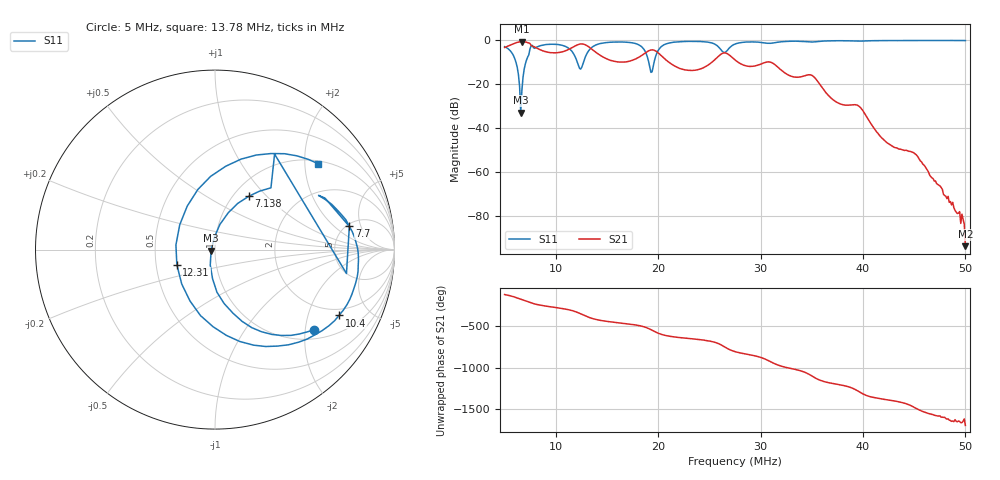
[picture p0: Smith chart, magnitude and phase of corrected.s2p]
! S11/S21 only; reverse parameters are placeholders. Device calibration unverified.
! [Saver CAL applied] C:\Users\aknya\MyProjects\rf-simulator\calibration2.cal | Ideal standards assumed | Input: NanoVNA F V2 profile | COM3 | 2026-09-08T11:42:01.1203711-04:00 | device calibration unverified
# HZ S RI R 50
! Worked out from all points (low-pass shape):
!   401 points, 5 MHz to 50 MHz, reference 50 ohm
!   highest |S21| = -0.66 dB at 6.688 MHz (marker M1); lowest = -93.9 dB at 50 MHz (marker M2)
!   |S21| within 3 dB of the highest: start of sweep to 8.149 MHz; 11.49 MHz to 13.39 MHz (1.899 MHz wide, 15.3 % of centre)
!   lowest |S11| = -33.0 dB at 6.575 MHz (marker M3), VSWR 1.05, Z = 47.9 - j0.566 ohm
!   |S11| at or under -10 dB: 6.102 MHz to 7.08 MHz (978 kHz wide, 14.8 % of centre); 12.09 MHz to 12.71 MHz (613.9 kHz wide, 4.95 % of centre); 19.07 MHz to 19.6 MHz (529.2 kHz wide, 2.74 % of centre)
!   S12 and S22 are empty: the file has one direction only
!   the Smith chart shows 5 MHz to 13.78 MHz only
!   S11 on the Smith chart (normalised r, x): 5 MHz: 1.24, -2.24; 7.138 MHz: 1.17, +0.79; 7.7 MHz: 5.29, +3.24; 10.4 MHz: 1.68, -3.19; 12.31 MHz: 0.64, -0.11; 13.78 MHz: 1.08, +2.34
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5000000  0.5531 -0.446  -0.4053 -0.5479  0 0  0 0
6575000  -0.0216 -0.00591  -0.9208 0.0434  0 0  0 0
6687500  -0.00237 0.0716  -0.9199 0.1113  0 0  0 0
7137500  0.1875 0.2968  -0.7966 0.4092  0 0  0 0
7700000  0.7486 0.1293  -0.4608 0.5697  0 0  0 0
1.04e7  0.6909 -0.3671  0.1761 0.4973  0 0  0 0
1.1525e7  0.2152 -0.5324  0.479 0.4564  0 0  0 0
1.23125e7  -0.2125 -0.0841  0.7987 0.1326  0 0  0 0
1.25375e7  -0.1964 0.1388  0.8188 -0.0427  0 0  0 0
1.3775e7  0.5755 0.4782  0.277 -0.4849  0 0  0 0
1.625e7  0.893 -0.1621  -0.0865 -0.3038  0 0  0 0
1.83875e7  0.3545 -0.6108  -0.3667 -0.2564  0 0  0 0
1.92875e7  -0.1825 -0.0258  -0.5925 0.0674  0 0  0 0
2.0075e7  0.3978 0.4757  -0.2986 0.3952  0 0  0 0
2.22125e7  0.9215 -0.044  0.0496 0.2164  0 0  0 0
2.615e7  0.4705 -0.3656  0.4756 -0.078  0 0  0 0
2.75e7  0.7912 -0.1915  0.00184 -0.3545  0 0  0 0
3.14375e7  0.7516 -0.4572  -0.1443 0.2303  0 0  0 0
3.50375e7  0.6551 -0.6269  0.1433 -0.0619  0 0  0 0
4.2575e7  0.4414 -0.8723  0.00274 0.00322  0 0  0 0
4.51625e7  0.3413 -0.9204  0.00171 -0.0018  0 0  0 0
5e7  0.1566 -0.966  -5.78e-06 1.94e-05  0 0  0 0
